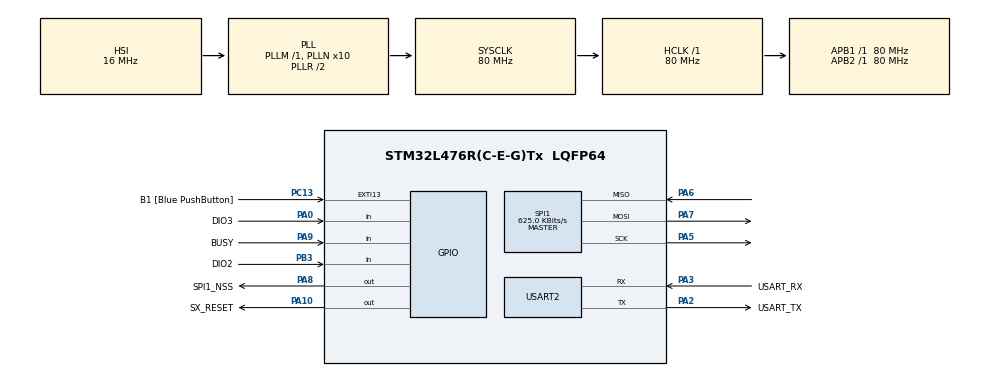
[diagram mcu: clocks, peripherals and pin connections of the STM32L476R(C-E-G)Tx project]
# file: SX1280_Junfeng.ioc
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Mcu.Family=STM32L4
Mcu.Name=STM32L476R(C-E-G)Tx
Mcu.Package=LQFP64
NVIC.PriorityGroup=NVIC_PRIORITYGROUP_4
NVIC.USART2_IRQn=true\:0\:0\:false\:false\:true\:true\:true
PA0.GPIO_Label=DIO3
PA0.Signal=GPIO_Input
PA10.GPIO_Label=SX_RESET
PA10.Signal=GPIO_Output
PA13\ (JTMS-SWDIO).GPIO_Label=TMS
PA13\ (JTMS-SWDIO).Mode=Serial_Wire
PA13\ (JTMS-SWDIO).Signal=SYS_JTMS-SWDIO
PA14\ (JTCK-SWCLK).GPIO_Label=TCK
PA14\ (JTCK-SWCLK).Mode=Serial_Wire
PA14\ (JTCK-SWCLK).Signal=SYS_JTCK-SWCLK
PA2.GPIO_Label=USART_TX
PA2.GPIO_Mode=GPIO_MODE_AF_PP
PA2.GPIO_PuPd=GPIO_NOPULL
PA2.GPIO_Speed=GPIO_SPEED_FREQ_VERY_HIGH
PA2.Mode=Asynchronous
PA2.Signal=USART2_TX
PA3.GPIO_Label=USART_RX
PA3.GPIO_Mode=GPIO_MODE_AF_PP
PA3.GPIO_PuPd=GPIO_NOPULL
PA3.GPIO_Speed=GPIO_SPEED_FREQ_VERY_HIGH
PA3.Mode=Asynchronous
PA3.Signal=USART2_RX
PA5.Mode=Full_Duplex_Master
PA5.Signal=SPI1_SCK
PA6.Mode=Full_Duplex_Master
PA6.Signal=SPI1_MISO
PA7.Mode=Full_Duplex_Master
PA7.Signal=SPI1_MOSI
PA8.GPIO_Label=SPI1_NSS
PA8.GPIO_ModeDefaultOutputPP=GPIO_MODE_OUTPUT_PP
PA8.PinState=GPIO_PIN_SET
PA8.Signal=GPIO_Output
PA9.GPIO_Label=BUSY
PA9.Signal=GPIO_Input
PB3\ (JTDO-TRACESWO).GPIO_Label=DIO2
PB3\ (JTDO-TRACESWO).Signal=GPIO_Input
PC13.GPIO_Label=B1 [Blue PushButton]
PC13.GPIO_ModeDefaultEXTI=GPIO_MODE_IT_FALLING
PC13.GPIO_PuPd=GPIO_NOPULL
PC13.Signal=GPXTI13
PC14-OSC32_IN\ (PC14).Mode=LSE-External-Oscillator
PC14-OSC32_IN\ (PC14).Signal=RCC_OSC32_IN
PC15-OSC32_OUT\ (PC15).Mode=LSE-External-Oscillator
PC15-OSC32_OUT\ (PC15).Signal=RCC_OSC32_OUT
ProjectManager.HeapSize=0x200
ProjectManager.StackSize=0x400
ProjectManager.TargetToolchain=EWARM V7
RCC.ADCFreq_Value=64000000
RCC.AHBFreq_Value=80000000
RCC.APB1Freq_Value=80000000
RCC.APB1TimFreq_Value=80000000
RCC.APB2Freq_Value=80000000
RCC.APB2TimFreq_Value=80000000
RCC.CortexFreq_Value=80000000
RCC.HCLKFreq_Value=80000000
RCC.HSE_VALUE=8000000
RCC.HSI_VALUE=16000000
RCC.MSI_VALUE=4000000
RCC.PLLN=10
RCC.PLLSourceVirtual=RCC_PLLSOURCE_HSI
RCC.PREFETCH_ENABLE=1
RCC.SYSCLKFreq_VALUE=80000000
RCC.SYSCLKSource=RCC_SYSCLKSOURCE_PLLCLK
RCC.USBFreq_Value=64000000
RCC.VCOOutputFreq_Value=160000000
SPI1.BaudRatePrescaler=SPI_BAUDRATEPRESCALER_128
SPI1.CalculateBaudRate=625.0 KBits/s
SPI1.DataSize=SPI_DATASIZE_8BIT
SPI1.Direction=SPI_DIRECTION_2LINES
SPI1.Mode=SPI_MODE_MASTER
SPI1.NSSPMode=SPI_NSS_PULSE_DISABLE
SPI1.VirtualType=VM_MASTER
USART2.VirtualMode-Asynchronous=VM_ASYNC
board=NUCLEO-L476RG

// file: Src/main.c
/* USER CODE BEGIN Header */
/**
  ******************************************************************************
  * @file           : main.c
  * @brief          : Main program body
  ******************************************************************************
  * @attention
  *
  * <h2><center>&copy; Copyright (c) 2021 STMicroelectronics.
  * All rights reserved.</center></h2>
  *
  * This software component is licensed by ST under BSD 3-Clause license,
  * the "License"; You may not use this file except in compliance with the
  * License. You may obtain a copy of the License at:
  *                        opensource.org/licenses/BSD-3-Clause
  *
  ******************************************************************************
  */
/* USER CODE END Header */
#include "main.h"

/* USER CODE BEGIN Includes */
#include <stdio.h>
#include "sx1280_mid.h"
/* USER CODE END Includes */

/* USER CODE BEGIN PD */
#define PUTCHAR_PROTOTYPE int fputc(int ch, FILE *f)
/* USER CODE END PD */

SPI_HandleTypeDef hspi1;

UART_HandleTypeDef huart2;

void SystemClock_Config(void);
static void MX_GPIO_Init(void);
static void MX_SPI1_Init(void);
static void MX_USART2_UART_Init(void);

/* USER CODE BEGIN 0 */
PUTCHAR_PROTOTYPE
{
    /* Place your implementation of fputc here */
    /* e.g. write a character to the USART2 and Loop until the end of transmission */
    HAL_UART_Transmit(&huart2, (uint8_t *)&ch, 1, 0xFFFF);

    return ch;
}
/**
 * @brief spi write and read
 *
 * @param outData :write outdate to spi interface
 * @return uint16_t :read data from the spi interface
 */
uint16_t SpiInOut_protype(uint16_t outData)
{
  uint8_t rxData = 0;

  HAL_SPI_TransmitReceive(&hspi1, (uint8_t *)&outData, &rxData, 1, HAL_MAX_DELAY);

  return (rxData);
}

void SpiInOut(uint8_t *txBuffer, uint8_t *rxBuffer, uint16_t size)
{
  HAL_SPI_TransmitReceive(&hspi1, (uint8_t *)txBuffer, rxBuffer, size, HAL_MAX_DELAY);
}
void SpiIn(uint8_t *txBuffer, uint16_t size)
{
  HAL_SPI_Transmit(&hspi1, txBuffer, size, HAL_MAX_DELAY);
}
/* USER CODE END 0 */

int main(void)
{

  /* MCU Configuration--------------------------------------------------------*/

  /* Reset of all peripherals, Initializes the Flash interface and the Systick. */
  HAL_Init();

  /* Configure the system clock */
  SystemClock_Config();

  /* Initialize all configured peripherals */
  MX_GPIO_Init();
  MX_SPI1_Init();
  MX_USART2_UART_Init();
  /* USER CODE BEGIN 2 */
  sx1280_app_init();
  /* USER CODE END 2 */

  /* Infinite loop */
  /* USER CODE BEGIN WHILE */
  while (1)
  {

    // printf("this is sx1280 application\n");
    // HAL_Delay(100);
    // sx1280_app_tx();

    sx1280_app_rx();
    /* USER CODE END WHILE */

  }
}

void SystemClock_Config(void)
{
  RCC_OscInitTypeDef RCC_OscInitStruct = {0};
  RCC_ClkInitTypeDef RCC_ClkInitStruct = {0};

  /** Configure the main internal regulator output voltage
  */
  if (HAL_PWREx_ControlVoltageScaling(PWR_REGULATOR_VOLTAGE_SCALE1) != HAL_OK)
  {
    Error_Handler();
  }
  /** Initializes the RCC Oscillators according to the specified parameters
  * in the RCC_OscInitTypeDef structure.
  */
  RCC_OscInitStruct.OscillatorType = RCC_OSCILLATORTYPE_HSI;
  RCC_OscInitStruct.HSIState = RCC_HSI_ON;
  RCC_OscInitStruct.HSICalibrationValue = RCC_HSICALIBRATION_DEFAULT;
  RCC_OscInitStruct.PLL.PLLState = RCC_PLL_ON;
  RCC_OscInitStruct.PLL.PLLSource = RCC_PLLSOURCE_HSI;
  RCC_OscInitStruct.PLL.PLLM = 1;
  RCC_OscInitStruct.PLL.PLLN = 10;
  RCC_OscInitStruct.PLL.PLLP = RCC_PLLP_DIV7;
  RCC_OscInitStruct.PLL.PLLQ = RCC_PLLQ_DIV2;
  RCC_OscInitStruct.PLL.PLLR = RCC_PLLR_DIV2;
  if (HAL_RCC_OscConfig(&RCC_OscInitStruct) != HAL_OK)
  {
    Error_Handler();
  }
  /** Initializes the CPU, AHB and APB buses clocks
  */
  RCC_ClkInitStruct.ClockType = RCC_CLOCKTYPE_HCLK|RCC_CLOCKTYPE_SYSCLK
                              |RCC_CLOCKTYPE_PCLK1|RCC_CLOCKTYPE_PCLK2;
  RCC_ClkInitStruct.SYSCLKSource = RCC_SYSCLKSOURCE_PLLCLK;
  RCC_ClkInitStruct.AHBCLKDivider = RCC_SYSCLK_DIV1;
  RCC_ClkInitStruct.APB1CLKDivider = RCC_HCLK_DIV1;
  RCC_ClkInitStruct.APB2CLKDivider = RCC_HCLK_DIV1;

  if (HAL_RCC_ClockConfig(&RCC_ClkInitStruct, FLASH_LATENCY_4) != HAL_OK)
  {
    Error_Handler();
  }
}

static void MX_SPI1_Init(void)
{

  /* SPI1 parameter configuration*/
  hspi1.Instance = SPI1;
  hspi1.Init.Mode = SPI_MODE_MASTER;
  hspi1.Init.Direction = SPI_DIRECTION_2LINES;
  hspi1.Init.DataSize = SPI_DATASIZE_8BIT;
  hspi1.Init.CLKPolarity = SPI_POLARITY_LOW;
  hspi1.Init.CLKPhase = SPI_PHASE_1EDGE;
  hspi1.Init.NSS = SPI_NSS_SOFT;
  hspi1.Init.BaudRatePrescaler = SPI_BAUDRATEPRESCALER_128;
  hspi1.Init.FirstBit = SPI_FIRSTBIT_MSB;
  hspi1.Init.TIMode = SPI_TIMODE_DISABLE;
  hspi1.Init.CRCCalculation = SPI_CRCCALCULATION_DISABLE;
  hspi1.Init.CRCPolynomial = 7;
  hspi1.Init.CRCLength = SPI_CRC_LENGTH_DATASIZE;
  hspi1.Init.NSSPMode = SPI_NSS_PULSE_DISABLE;
  if (HAL_SPI_Init(&hspi1) != HAL_OK)
  {
    Error_Handler();
  }

}

static void MX_USART2_UART_Init(void)
{

  huart2.Instance = USART2;
  huart2.Init.BaudRate = 115200;
  huart2.Init.WordLength = UART_WORDLENGTH_8B;
  huart2.Init.StopBits = UART_STOPBITS_1;
  huart2.Init.Parity = UART_PARITY_NONE;
  huart2.Init.Mode = UART_MODE_TX_RX;
  huart2.Init.HwFlowCtl = UART_HWCONTROL_NONE;
  huart2.Init.OverSampling = UART_OVERSAMPLING_16;
  huart2.Init.OneBitSampling = UART_ONE_BIT_SAMPLE_DISABLE;
  huart2.AdvancedInit.AdvFeatureInit = UART_ADVFEATURE_NO_INIT;
  if (HAL_UART_Init(&huart2) != HAL_OK)
  {
    Error_Handler();
  }

}

static void MX_GPIO_Init(void)
{
  GPIO_InitTypeDef GPIO_InitStruct = {0};

  /* GPIO Ports Clock Enable */
  __HAL_RCC_GPIOC_CLK_ENABLE();
  __HAL_RCC_GPIOH_CLK_ENABLE();
  __HAL_RCC_GPIOA_CLK_ENABLE();
  __HAL_RCC_GPIOB_CLK_ENABLE();
  __HAL_RCC_GPIOD_CLK_ENABLE();

  /*Configure GPIO pin Output Level */
  HAL_GPIO_WritePin(SPI1_NSS_GPIO_Port, SPI1_NSS_Pin, GPIO_PIN_SET);

  /*Configure GPIO pin Output Level */
  HAL_GPIO_WritePin(SX_RESET_GPIO_Port, SX_RESET_Pin, GPIO_PIN_RESET);

  /*Configure GPIO pin : B1_Pin */
  GPIO_InitStruct.Pin = B1_Pin;
  GPIO_InitStruct.Mode = GPIO_MODE_IT_FALLING;
  GPIO_InitStruct.Pull = GPIO_NOPULL;
  HAL_GPIO_Init(B1_GPIO_Port, &GPIO_InitStruct);

  /*Configure GPIO pins : PH0 PH1 */
  GPIO_InitStruct.Pin = GPIO_PIN_0|GPIO_PIN_1;
  GPIO_InitStruct.Mode = GPIO_MODE_ANALOG;
  GPIO_InitStruct.Pull = GPIO_NOPULL;
  HAL_GPIO_Init(GPIOH, &GPIO_InitStruct);

  /*Configure GPIO pins : PC0 PC1 PC2 PC3
                           PC4 PC5 PC6 PC7
                           PC8 PC9 PC10 PC11
                           PC12 */
  GPIO_InitStruct.Pin = GPIO_PIN_0|GPIO_PIN_1|GPIO_PIN_2|GPIO_PIN_3
                          |GPIO_PIN_4|GPIO_PIN_5|GPIO_PIN_6|GPIO_PIN_7
                          |GPIO_PIN_8|GPIO_PIN_9|GPIO_PIN_10|GPIO_PIN_11
                          |GPIO_PIN_12;
  GPIO_InitStruct.Mode = GPIO_MODE_ANALOG;
  GPIO_InitStruct.Pull = GPIO_NOPULL;
  HAL_GPIO_Init(GPIOC, &GPIO_InitStruct);

  /*Configure GPIO pins : DIO3_Pin BUSY_Pin */
  GPIO_InitStruct.Pin = DIO3_Pin|BUSY_Pin;
  GPIO_InitStruct.Mode = GPIO_MODE_INPUT;
  GPIO_InitStruct.Pull = GPIO_NOPULL;
  HAL_GPIO_Init(GPIOA, &GPIO_InitStruct);

  /*Configure GPIO pins : PA1 PA4 PA11 PA12
                           PA15 */
  GPIO_InitStruct.Pin = GPIO_PIN_1|GPIO_PIN_4|GPIO_PIN_11|GPIO_PIN_12
                          |GPIO_PIN_15;
  GPIO_InitStruct.Mode = GPIO_MODE_ANALOG;
  GPIO_InitStruct.Pull = GPIO_NOPULL;
  HAL_GPIO_Init(GPIOA, &GPIO_InitStruct);

  /*Configure GPIO pins : PB0 PB1 PB2 PB10
                           PB11 PB12 PB13 PB14
                           PB15 PB4 PB5 PB6
                           PB7 PB8 PB9 */
  GPIO_InitStruct.Pin = GPIO_PIN_0|GPIO_PIN_1|GPIO_PIN_2|GPIO_PIN_10
                          |GPIO_PIN_11|GPIO_PIN_12|GPIO_PIN_13|GPIO_PIN_14
                          |GPIO_PIN_15|GPIO_PIN_4|GPIO_PIN_5|GPIO_PIN_6
                          |GPIO_PIN_7|GPIO_PIN_8|GPIO_PIN_9;
  GPIO_InitStruct.Mode = GPIO_MODE_ANALOG;
  GPIO_InitStruct.Pull = GPIO_NOPULL;
  HAL_GPIO_Init(GPIOB, &GPIO_InitStruct);

  /*Configure GPIO pins : SPI1_NSS_Pin SX_RESET_Pin */
  GPIO_InitStruct.Pin = SPI1_NSS_Pin|SX_RESET_Pin;
  GPIO_InitStruct.Mode = GPIO_MODE_OUTPUT_PP;
  GPIO_InitStruct.Pull = GPIO_NOPULL;
  GPIO_InitStruct.Speed = GPIO_SPEED_FREQ_LOW;
  HAL_GPIO_Init(GPIOA, &GPIO_InitStruct);

  /*Configure GPIO pin : PD2 */
  GPIO_InitStruct.Pin = GPIO_PIN_2;
  GPIO_InitStruct.Mode = GPIO_MODE_ANALOG;
  GPIO_InitStruct.Pull = GPIO_NOPULL;
  HAL_GPIO_Init(GPIOD, &GPIO_InitStruct);

  /*Configure GPIO pin : DIO2_Pin */
  GPIO_InitStruct.Pin = DIO2_Pin;
  GPIO_InitStruct.Mode = GPIO_MODE_INPUT;
  GPIO_InitStruct.Pull = GPIO_NOPULL;
  HAL_GPIO_Init(DIO2_GPIO_Port, &GPIO_InitStruct);

}

void Error_Handler(void)
{
  __disable_irq();
  while (1)
  {
  }
}

/************************ (C) COPYRIGHT STMicroelectronics *****END OF FILE****/
